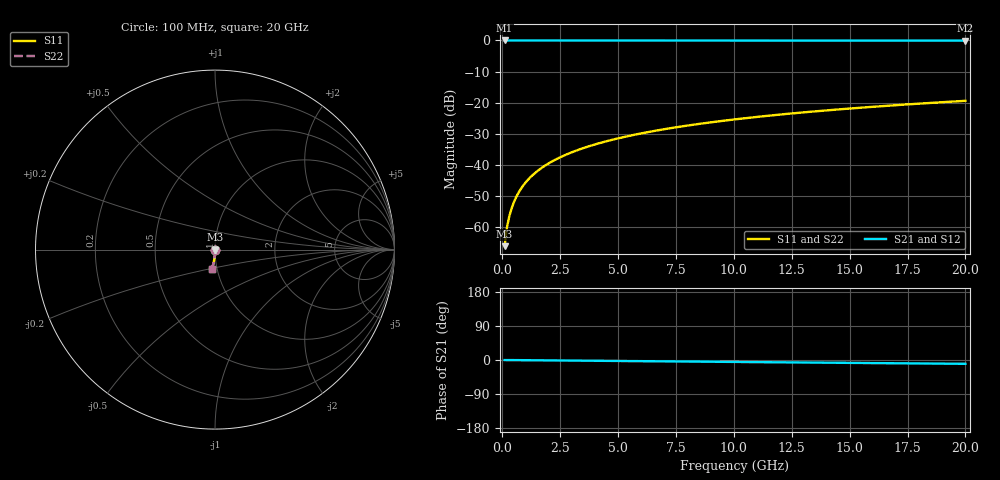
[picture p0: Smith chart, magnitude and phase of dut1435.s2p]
! Touchstone file exported from HFSS 2026.1.0
!  File:  C:/ffzhzh/LocalFiles/Ansys_Project_Files/temp_train_TSV_1435_1783197559_51560.aedt
!  Generated:  04:40:38 AM Jul  5, 2026
!  Design:  TSV
!  Project:  temp_train_TSV_1435_1783197559_51560
! Variables:
!  h_bsmrdl = 2um
!  h_ox = 20um
!  h_rdl = 5um
!  h_sub = 86.21um
!  h_tmrdl = 5um
!  h_tsv = 86.21um
!  h_via = 3um
!  l_bsmrdl = 300um
!  l_sub = 427.96um
!  l_tmrdl = 200um
!  m_sub = 200um
!  pitch = 34.25um
!  r_tsv = 13.98um
!  s_tmrdl = 10um
!  w_bsmrdl = 18um
!  w_sub = 500um
!  w_tmrdl = 12um
!  x_tsv_center1 = 206um
!  x_tsv_center2 = 524um
!  x_tsv_center3 = 736um
!  x_tsv_center4 = 1054um
!  x_tsv_center5 = 1266um
!  x_tsv_center6 = 1584um
# GHz S MA R 50.000000
! Terminal data exported
! Port[1] = TSV1_1_T1
! Port[2] = TSV1_1_T2
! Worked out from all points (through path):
!   200 points, 100 MHz to 20 GHz, reference 50 ohm
!   highest |S21| = 0.00 dB at 100 MHz (marker M1); lowest = -0.1 dB at 20 GHz (marker M2)
!   group delay of S21, straight-line fit = 1.4 ps
!   lowest |S11| = -66.2 dB at 100 MHz (marker M3), VSWR 1.00, Z = 50 - j0.048 ohm
!   |S11| at or under -10 dB: start of sweep to end of sweep
!   |S22| runs from -66.2 to -19.4 dB; largest |S21 - S12| = 2.2e-15
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0.1  0.0004892 -78.7  0.9999 -0.1  0.9999 -0.1  0.0004892 -78.7
! Gamma 0 0 0 0
! Port Impedance 50 0 50 0
0.2  0.0009726 -83.2  0.9999 -0.1  0.9999 -0.1  0.0009726 -83.2
0.3  0.001469 -84.4  0.9999 -0.2  0.9999 -0.2  0.001469 -84.4
0.4  0.001977 -85.0  0.9998 -0.2  0.9998 -0.2  0.001977 -85.0
0.5  0.002494 -85.3  0.9998 -0.3  0.9998 -0.3  0.002494 -85.3
0.7  0.003547 -86.0  0.9997 -0.4  0.9997 -0.4  0.003547 -86.0
0.8  0.004079 -86.2  0.9997 -0.4  0.9997 -0.4  0.004079 -86.2
1  0.005148 -86.8  0.9996 -0.5  0.9996 -0.5  0.005148 -86.8
1.2  0.006219 -87.2  0.9996 -0.6  0.9996 -0.6  0.006219 -87.2
1.4  0.00729 -87.6  0.9996 -0.7  0.9996 -0.7  0.00729 -87.6
1.7  0.008896 -88.1  0.9995 -0.9  0.9995 -0.9  0.008896 -88.1
2  0.0105 -88.6  0.9995 -1.0  0.9995 -1.0  0.0105 -88.6
2.7  0.01425 -89.3  0.9994 -1.4  0.9994 -1.4  0.01425 -89.3
3.5  0.01853 -90.0  0.9993 -1.8  0.9993 -1.8  0.01853 -90.0
4.2  0.02228 -90.5  0.9991 -2.1  0.9991 -2.1  0.02228 -90.5
5  0.02658 -91.1  0.999 -2.6  0.999 -2.6  0.02658 -91.1
6.8  0.03626 -92.2  0.9985 -3.5  0.9985 -3.5  0.03626 -92.2
8.3  0.04433 -93.0  0.9981 -4.2  0.9981 -4.2  0.04433 -93.0
10.1  0.05401 -94.1  0.9975 -5.1  0.9975 -5.1  0.05401 -94.1
13.4  0.0717 -95.9  0.9963 -6.8  0.9963 -6.8  0.0717 -95.9
16.7  0.08931 -97.6  0.9947 -8.4  0.9947 -8.4  0.08931 -97.6
20  0.1068 -99.3  0.9928 -10.1  0.9928 -10.1  0.1068 -99.3
